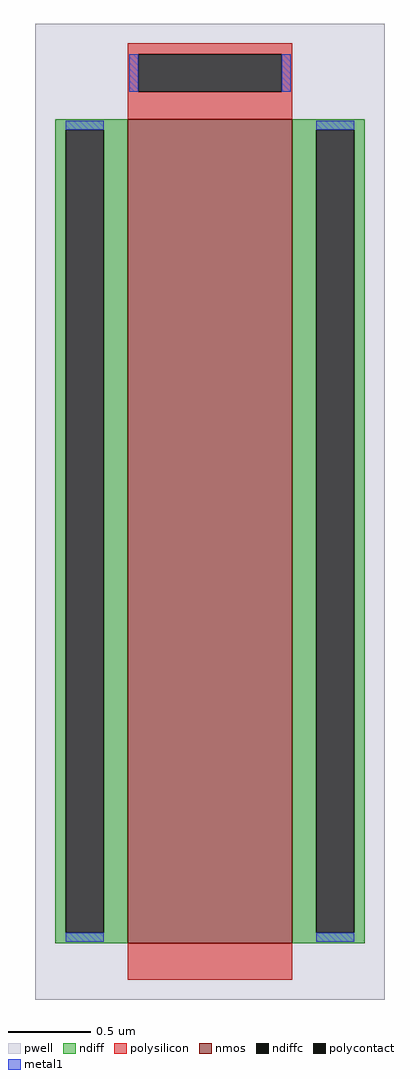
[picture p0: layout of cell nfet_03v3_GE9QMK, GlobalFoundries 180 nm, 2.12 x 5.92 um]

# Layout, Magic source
magic
tech gf180mcuD
magscale 1 10
<< pwell >>
rect -212 -592 212 592
<< nmos >>
rect -100 -524 100 476
<< ndiff >>
rect -188 463 -100 476
rect -188 -511 -175 463
rect -129 -511 -100 463
rect -188 -524 -100 -511
rect 100 463 188 476
rect 100 -511 129 463
rect 175 -511 188 463
rect 100 -524 188 -511
<< ndiffc >>
rect -175 -511 -129 463
rect 129 -511 175 463
<< polysilicon >>
rect -100 555 100 568
rect -100 509 -87 555
rect 87 509 100 555
rect -100 476 100 509
rect -100 -568 100 -524
<< polycontact >>
rect -87 509 87 555
<< metal1 >>
rect -98 509 -87 555
rect 87 509 98 555
rect -175 463 -129 474
rect -175 -522 -129 -511
rect 129 463 175 474
rect 129 -522 175 -511
<< properties >>
string gencell nfet_03v3
string library gf180mcu
string parameters w 5 l 1 m 1 nf 1 diffcov 100 polycov 100 guard 0 glc 0 grc 0 gtc 0 gbc 0 tbcov 100 rlcov 100 topc 1 botc 0 poverlap 0 doverlap 1 lmin 0.28 wmin 0.22 class mosfet full_metal 0 compatible {nfet_03v3 nfet_05v0 nfet_06v0 nfet_06v0_nvt}
<< end >>
